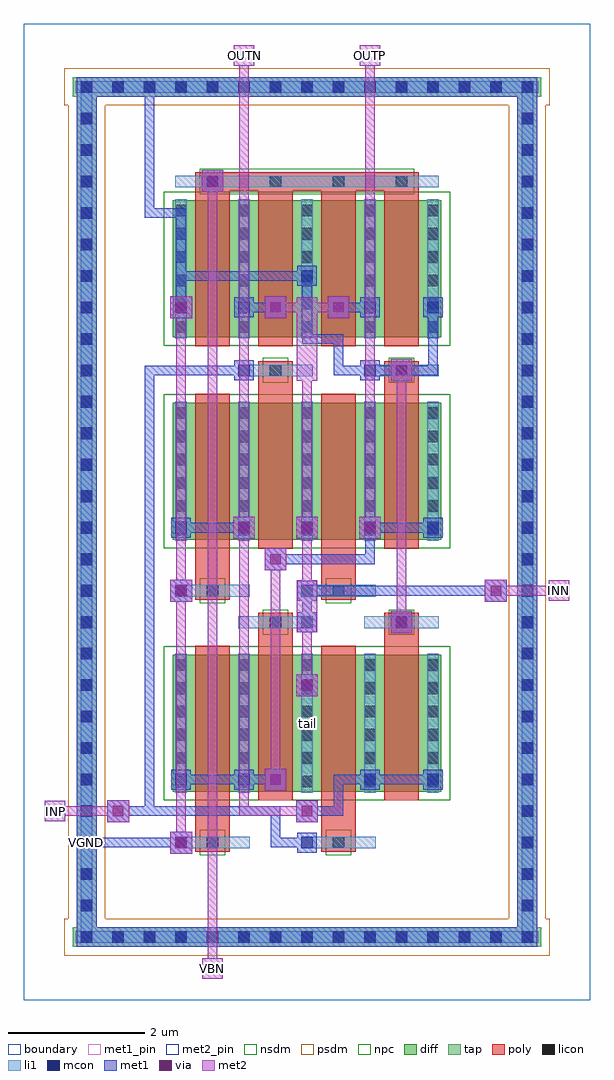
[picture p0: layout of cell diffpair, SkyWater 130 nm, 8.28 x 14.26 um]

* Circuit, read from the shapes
.subckt diffpair INN INP OUTN OUTP VBN VGND tail
XM1 OUTP VGND OUTP VGND sky130_fd_pr__nfet_01v8 w=2 l=0.5 m=2
XM2 OUTN VGND OUTN VGND sky130_fd_pr__nfet_01v8 w=2 l=0.5 m=2
XM3 tail VBN VGND VGND sky130_fd_pr__nfet_01v8 w=2 l=0.5 m=4
XM4 tail INN OUTP VGND sky130_fd_pr__nfet_01v8 w=2 l=0.5 m=2
XM5 tail INP OUTN VGND sky130_fd_pr__nfet_01v8 w=2 l=0.5 m=2
.ends

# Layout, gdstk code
import gdstk
lib = gdstk.Library(unit=1e-6, precision=1e-09)
def R(c, l, rs):  # rectangles x0, y0, x1, y1
    for r in rs: c.add(gdstk.rectangle(r[:2], r[2:], *l))
def A(c, l, x, y, w, h, nx, ny, dx, dy):  # array of equal rectangles
    R(c, l, [(x+i*dx, y+j*dy, x+i*dx+w, y+j*dy+h) for i in range(nx) for j in range(ny)])
diff = (65, 20)
tap = (65, 44)
poly = (66, 20)
licon = (66, 44)
li1 = (67, 20)
mcon = (67, 44)
met1_pin = (68, 16)
met1 = (68, 20)
via = (68, 44)
met2_pin = (69, 16)
met2 = (69, 20)
nsdm = (93, 44)
psdm = (94, 20)
npc = (95, 20)
boundary = (235, 4)

diffpair = lib.new_cell('diffpair')
R(diffpair, diff, [(2.175,3.045,6.105,5.045), (2.175,6.725,6.105,8.725), (2.175,9.685,6.105,11.685)])
R(diffpair, tap, [(0.715,0.775,7.565,1.065), (0.775,0.775,1.065,13.485), (7.215,0.775,7.505,13.485), (0.715,13.195,7.565,13.485)])
A(diffpair, poly, 2.51, 9.555, 0.5, 2.405, 4, 1, 0.92, 0)
R(diffpair, poly, [(2.51,2.165,3.01,2.435), (4.35,2.165,4.85,2.435), (2.51,2.3,3.01,5.175), (4.35,2.3,4.85,5.175), (3.43,2.915,3.93,5.52), (5.27,2.915,5.77,5.52), (3.43,5.385,3.93,5.655), (5.27,5.385,5.77,5.655), (2.51,5.845,3.01,6.115), (4.35,5.845,4.85,6.115), (2.51,5.98,3.01,8.855), (4.35,5.98,4.85,8.855), (3.43,6.595,3.93,9.2), (5.27,6.595,5.77,9.2), (3.43,9.065,3.93,9.335), (5.27,9.065,5.77,9.335), (2.51,11.825,5.77,12.095)])
A(diffpair, licon, 0.835, 0.835, 0.17, 0.17, 15, 2, 0.46, 12.42)
A(diffpair, licon, 7.275, 1.295, 0.17, 0.17, 1, 9, 0, 0.46)
A(diffpair, licon, 0.835, 2.215, 0.17, 0.17, 3, 2, 1.84, 3.68)
A(diffpair, licon, 0.835, 2.675, 0.17, 0.17, 1, 7, 0, 0.46)
A(diffpair, licon, 2.215, 3.11, 0.17, 0.17, 5, 6, 0.92, 0.34)
A(diffpair, licon, 3.595, 5.435, 0.17, 0.17, 3, 2, 1.84, 3.68)
A(diffpair, licon, 7.275, 5.895, 0.17, 0.17, 1, 7, 0, 0.46)
A(diffpair, licon, 0.835, 6.355, 0.17, 0.17, 1, 15, 0, 0.46)
A(diffpair, licon, 2.215, 6.79, 0.17, 0.17, 5, 6, 0.92, 0.34)
A(diffpair, licon, 7.275, 9.575, 0.17, 0.17, 1, 8, 0, 0.46)
A(diffpair, licon, 2.215, 9.75, 0.17, 0.17, 5, 6, 0.92, 0.34)
A(diffpair, licon, 2.675, 11.875, 0.17, 0.17, 4, 1, 0.92, 0)
R(diffpair, licon, [(0.835,1.295,1.005,1.465), (0.835,1.755,1.005,1.925)])
A(diffpair, li1, 2.215, 3.03, 0.17, 2.03, 5, 2, 0.92, 3.68)
A(diffpair, li1, 2.215, 9.67, 0.17, 2.03, 5, 1, 0.92, 0)
R(diffpair, li1, [(0.755,0.835,7.525,1.005), (0.835,0.835,1.005,13.425), (7.275,0.835,7.445,13.425), (2.215,2.215,3.305,2.385), (4.055,2.215,5.145,2.385), (3.135,5.435,4.225,5.605), (4.975,5.435,6.065,5.605), (2.215,5.895,3.305,6.065), (4.055,5.895,5.145,6.065), (3.135,9.115,4.225,9.285), (4.975,9.115,6.065,9.285), (2.215,11.875,6.065,12.045), (0.755,13.255,7.525,13.425)])
A(diffpair, mcon, 0.835, 0.835, 0.17, 0.17, 15, 2, 0.46, 12.42)
A(diffpair, mcon, 0.835, 1.295, 0.17, 0.17, 1, 7, 0, 0.46)
A(diffpair, mcon, 7.275, 1.295, 0.17, 0.17, 1, 7, 0, 0.46)
A(diffpair, mcon, 0.835, 4.515, 0.17, 0.17, 3, 2, 3.22, 5.98)
A(diffpair, mcon, 0.835, 4.975, 0.17, 0.17, 1, 12, 0, 0.46)
A(diffpair, mcon, 7.275, 4.975, 0.17, 0.17, 1, 12, 0, 0.46)
A(diffpair, mcon, 2.215, 6.815, 0.17, 0.17, 5, 1, 0.92, 0)
A(diffpair, mcon, 0.835, 10.955, 0.17, 0.17, 1, 5, 0, 0.46)
A(diffpair, mcon, 7.275, 10.955, 0.17, 0.17, 1, 5, 0, 0.46)
R(diffpair, mcon, [(2.215,2.215,2.385,2.385), (4.055,2.215,4.225,2.385), (2.215,3.135,2.385,3.305), (3.135,3.135,3.305,3.305), (4.975,3.135,5.145,3.305), (5.895,3.135,6.065,3.305), (4.055,5.435,4.225,5.605), (5.435,5.435,5.605,5.605), (2.215,5.895,2.385,6.065), (4.055,5.895,4.225,6.065), (3.135,9.115,3.305,9.285), (4.975,9.115,5.145,9.285), (2.215,10.035,2.385,10.205), (3.135,10.035,3.305,10.205), (4.975,10.035,5.145,10.205), (5.895,10.035,6.065,10.205), (2.675,11.875,2.845,12.045)])
R(diffpair, met1_pin, [(0.85,2.23,0.99,2.37)])
A(diffpair, met1, 3.06, 6.74, 0.32, 0.32, 3, 1, 0.92, 0)
A(diffpair, met1, 2.155, 6.755, 0.29, 0.29, 5, 1, 0.92, 0)
R(diffpair, met1, [(0.775,0.775,7.505,1.065), (0.775,0.775,1.065,13.485), (7.215,0.775,7.505,13.485), (2.14,2.14,2.46,2.46), (2.155,2.155,2.445,2.445), (3.995,2.155,4.285,2.445), (0.85,2.23,2.37,2.37), (0.85,2.23,0.99,2.37), (3.61,2.23,4.21,2.37), (3.61,2.23,3.75,2.83), (1.22,2.6,1.54,2.92), (3.98,2.6,4.3,2.92), (1.31,2.69,3.75,2.83), (1.77,2.69,1.91,9.27), (4.07,2.69,4.67,2.83), (4.53,2.69,4.67,3.29), (3.52,3.06,3.84,3.38), (2.155,3.075,2.445,3.365), (3.075,3.075,3.365,3.365), (4.915,3.075,5.205,3.365), (5.835,3.075,6.125,3.365), (2.23,3.15,3.29,3.29), (3.15,3.15,3.75,3.29), (4.53,3.15,5.13,3.29), (4.99,3.15,6.05,3.29), (3.98,4.44,4.3,4.76), (3.995,4.455,4.285,4.745), (5.36,5.36,5.68,5.68), (3.995,5.375,4.285,5.665), (5.375,5.375,5.665,5.665), (4.07,5.45,4.21,6.05), (2.14,5.82,2.46,6.14), (6.74,5.82,7.06,6.14), (2.155,5.835,2.445,6.125), (3.995,5.835,4.285,6.125), (4.07,5.91,6.97,6.05), (3.52,6.28,3.84,6.6), (3.61,6.37,5.13,6.51), (4.99,6.37,5.13,6.97), (2.23,6.83,3.29,6.97), (4.99,6.83,6.05,6.97), (5.36,9.04,5.68,9.36), (3.075,9.055,3.365,9.345), (4.915,9.055,5.205,9.345), (1.77,9.13,3.29,9.27), (4.53,9.13,5.13,9.27), (4.53,9.13,4.67,9.73), (4.99,9.13,6.05,9.27), (5.91,9.13,6.05,10.19), (4.07,9.59,4.67,9.73), (4.07,9.59,4.21,10.65), (2.14,9.96,2.46,10.28), (3.52,9.96,3.84,10.28), (4.44,9.96,4.76,10.28), (2.155,9.975,2.445,10.265), (3.075,9.975,3.365,10.265), (4.915,9.975,5.205,10.265), (5.835,9.975,6.125,10.265), (2.23,10.05,2.37,11.57), (3.15,10.05,3.75,10.19), (4.53,10.05,5.13,10.19), (3.995,10.435,4.285,10.725), (2.23,10.51,4.21,10.65), (1.77,11.43,2.37,11.57), (1.77,11.43,1.91,13.41), (2.6,11.8,2.92,12.12), (2.615,11.815,2.905,12.105), (0.775,13.195,7.505,13.485), (1.77,13.27,1.91,13.41)])
A(diffpair, via, 3.145, 6.825, 0.15, 0.15, 3, 1, 0.92, 0)
R(diffpair, via, [(2.225,2.225,2.375,2.375), (1.305,2.685,1.455,2.835), (4.065,2.685,4.215,2.835), (3.605,3.145,3.755,3.295), (4.065,4.525,4.215,4.675), (5.445,5.445,5.595,5.595), (2.225,5.905,2.375,6.055), (6.825,5.905,6.975,6.055), (3.605,6.365,3.755,6.515), (5.445,9.125,5.595,9.275), (2.225,10.045,2.375,10.195), (3.605,10.045,3.755,10.195), (4.525,10.045,4.675,10.195), (2.685,11.885,2.835,12.035)])
R(diffpair, met2_pin, [(2.61,0.31,2.91,0.61), (0.31,2.61,0.61,2.91), (7.67,5.83,7.97,6.13), (3.07,13.65,3.37,13.95), (4.91,13.65,5.21,13.95)])
A(diffpair, met2, 3.06, 6.74, 0.32, 0.32, 3, 1, 0.92, 0)
R(diffpair, met2, [(2.61,0.31,2.91,0.61), (2.69,0.39,2.83,0.53), (2.69,0.39,2.83,12.03), (2.14,2.14,2.46,2.46), (2.23,2.23,2.37,6.05), (1.22,2.6,1.54,2.92), (3.98,2.6,4.3,2.92), (0.31,2.61,0.61,2.91), (0.39,2.69,0.53,2.83), (0.39,2.69,1.45,2.83), (3.15,2.69,4.21,2.83), (3.15,2.69,3.29,6.97), (3.52,3.06,3.84,3.38), (3.61,3.15,3.75,6.51), (3.98,4.44,4.3,4.76), (4.07,4.53,4.21,5.59), (5.36,5.36,5.68,5.68), (3.99,5.37,4.29,6.13), (5.45,5.45,5.59,9.27), (2.14,5.82,2.46,6.14), (6.74,5.82,7.06,6.14), (7.67,5.83,7.97,6.13), (2.23,5.91,2.37,10.19), (4.07,5.91,4.21,6.97), (6.83,5.91,7.89,6.05), (7.75,5.91,7.89,6.05), (3.52,6.28,3.84,6.6), (3.15,6.83,3.29,13.87), (4.07,6.83,4.21,9.27), (4.99,6.83,5.13,13.87), (5.36,9.04,5.68,9.36), (3.99,9.05,4.29,10.27), (2.14,9.96,2.46,10.28), (3.52,9.96,3.84,10.28), (4.44,9.96,4.76,10.28), (3.61,10.05,4.21,10.19), (4.07,10.05,4.67,10.19), (2.6,11.8,2.92,12.12), (3.07,13.65,3.37,13.95), (4.91,13.65,5.21,13.95), (3.15,13.73,3.29,13.87), (4.99,13.73,5.13,13.87)])
R(diffpair, nsdm, [(2.05,2.92,6.23,5.17), (2.05,6.6,6.23,8.85), (2.05,9.56,6.23,11.81)])
R(diffpair, psdm, [(0.59,0.65,7.69,1.19), (0.65,1.19,1.19,13.07), (7.09,1.19,7.63,13.07), (0.59,13.07,7.69,13.61)])
R(diffpair, npc, [(2.575,2.115,2.945,2.485), (4.415,2.115,4.785,2.485), (3.495,5.335,3.865,5.705), (5.335,5.335,5.705,5.705), (2.575,5.795,2.945,6.165), (4.415,5.795,4.785,6.165), (3.495,9.015,3.865,9.385), (5.335,9.015,5.705,9.385), (2.575,11.775,5.705,12.145)])
R(diffpair, boundary, [(0,0,8.28,14.26)])
diffpair.add(gdstk.Label('tail', (4.14,4.045), layer=67, texttype=5))
diffpair.add(gdstk.Label('VGND', (0.92,2.3), layer=68, texttype=5))
diffpair.add(gdstk.Label('INP', (0.46,2.76), layer=69, texttype=5))
diffpair.add(gdstk.Label('INN', (7.82,5.98), layer=69, texttype=5))
diffpair.add(gdstk.Label('VBN', (2.76,0.46), layer=69, texttype=5))
diffpair.add(gdstk.Label('OUTP', (5.06,13.8), layer=69, texttype=5))
diffpair.add(gdstk.Label('OUTN', (3.22,13.8), layer=69, texttype=5))
diffpair.add(gdstk.Label('VGND', (0.92,2.3), layer=68, texttype=16))
diffpair.add(gdstk.Label('INP', (0.46,2.76), layer=69, texttype=16))
diffpair.add(gdstk.Label('INN', (7.82,5.98), layer=69, texttype=16))
diffpair.add(gdstk.Label('VBN', (2.76,0.46), layer=69, texttype=16))
diffpair.add(gdstk.Label('OUTP', (5.06,13.8), layer=69, texttype=16))
diffpair.add(gdstk.Label('OUTN', (3.22,13.8), layer=69, texttype=16))

lib.write_gds('diffpair.gds')
